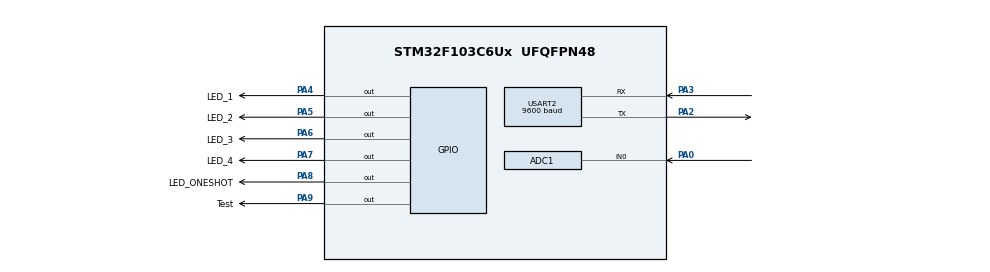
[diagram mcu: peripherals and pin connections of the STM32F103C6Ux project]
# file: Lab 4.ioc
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ADC1.Channel-0\#ChannelRegularConversion=ADC_CHANNEL_0
ADC1.ContinuousConvMode=ENABLE
ADC1.NbrOfConversionFlag=1
ADC1.Rank-0\#ChannelRegularConversion=1
ADC1.SamplingTime-0\#ChannelRegularConversion=ADC_SAMPLETIME_1CYCLE_5
ADC1.master=1
Mcu.Family=STM32F1
Mcu.Name=STM32F103C6Ux
Mcu.Package=UFQFPN48
NVIC.PriorityGroup=NVIC_PRIORITYGROUP_4
NVIC.TIM2_IRQn=true\:0\:0\:false\:false\:true\:true\:true
NVIC.USART2_IRQn=true\:0\:0\:false\:false\:true\:true\:true
PA0-WKUP.Signal=ADCx_IN0
PA2.Mode=Asynchronous
PA2.Signal=USART2_TX
PA3.Mode=Asynchronous
PA3.Signal=USART2_RX
PA4.GPIO_Label=LED_1
PA4.Signal=GPIO_Output
PA5.GPIO_Label=LED_2
PA5.Signal=GPIO_Output
PA6.GPIO_Label=LED_3
PA6.Signal=GPIO_Output
PA7.GPIO_Label=LED_4
PA7.Signal=GPIO_Output
PA8.GPIO_Label=LED_ONESHOT
PA8.Signal=GPIO_Output
PA9.GPIO_Label=Test
PA9.Signal=GPIO_Output
ProjectManager.HeapSize=0x200
ProjectManager.StackSize=0x400
ProjectManager.TargetToolchain=STM32CubeIDE
RCC.APB1Freq_Value=8000000
RCC.APB2Freq_Value=8000000
SH.ADCx_IN0.0=ADC1_IN0,IN0
TIM2.Period=10
TIM2.Prescaler=7999
USART2.BaudRate=9600
USART2.VirtualMode=VM_ASYNC
VP_SYS_VS_ND.Mode=No_Debug
VP_TIM2_VS_ClockSourceINT.Mode=Internal
board=custom

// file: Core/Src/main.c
/* USER CODE BEGIN Header */
/**
  ******************************************************************************
  * @file           : main.c
  * @brief          : Main program body
  ******************************************************************************
  * @attention
  *
  * <h2><center>&copy; Copyright (c) 2022 STMicroelectronics.
  * All rights reserved.</center></h2>
  *
  * This software component is licensed by ST under BSD 3-Clause license,
  * the "License"; You may not use this file except in compliance with the
  * License. You may obtain a copy of the License at:
  *                        opensource.org/licenses/BSD-3-Clause
  *
  ******************************************************************************
  */
/* USER CODE END Header */
#include "main.h"

/* USER CODE BEGIN Includes */
#include "scheduler.h"
/* USER CODE END Includes */

ADC_HandleTypeDef hadc1;

TIM_HandleTypeDef htim2;

UART_HandleTypeDef huart2;

void SystemClock_Config(void);
static void MX_GPIO_Init(void);
static void MX_TIM2_Init(void);
static void MX_USART2_UART_Init(void);
static void MX_ADC1_Init(void);

/* USER CODE BEGIN 0 */
void led_loop(uint32_t led){
	switch(led){
	case 1:
		HAL_GPIO_TogglePin(GPIOA, LED_1_Pin);
		break;
	case 2:
		HAL_GPIO_TogglePin(GPIOA, LED_2_Pin);
		break;
	case 3:
		HAL_GPIO_TogglePin(GPIOA, LED_3_Pin);
		break;
	case 4:
		HAL_GPIO_TogglePin(GPIOA, LED_4_Pin);
		break;
	default:
		break;
	}
}

void led_oneshot(uint32_t led){
	//		HAL_GPIO_TogglePin(GPIOA, LED_ONESHOT_Pin);
	if (HAL_GPIO_ReadPin(GPIOA, LED_ONESHOT_Pin) == GPIO_PIN_RESET){
		HAL_GPIO_WritePin(GPIOA, LED_ONESHOT_Pin, GPIO_PIN_SET);
	}
	else HAL_GPIO_WritePin(GPIOA, LED_ONESHOT_Pin, GPIO_PIN_RESET);
}
/* USER CODE END 0 */

int main(void)
{

  /* MCU Configuration--------------------------------------------------------*/

  /* Reset of all peripherals, Initializes the Flash interface and the Systick. */
  HAL_Init();

  /* Configure the system clock */
  SystemClock_Config();

  /* Initialize all configured peripherals */
  MX_GPIO_Init();
  MX_TIM2_Init();
  MX_USART2_UART_Init();
  MX_ADC1_Init();
  /* USER CODE BEGIN 2 */
  HAL_TIM_Base_Start_IT (& htim2);

  SCH_Init();
  uint32_t id1 = SCH_Add_Task(led_loop, 1, 50, 50);
  uint32_t id2 = SCH_Add_Task(led_loop, 2, 50, 100);
  uint32_t id3 = SCH_Add_Task(led_loop, 3, 50, 150);
  uint32_t id4 = SCH_Add_Task(led_loop, 4, 50, 200);
  uint32_t id5 = SCH_Add_Task(led_oneshot, -1, 250, 0);
  /* USER CODE END 2 */

  /* Infinite loop */
  /* USER CODE BEGIN WHILE */
  while (1)
  {
	  SCH_Dispatch_Tasks();
//	  HAL_UART_Transmit(&huart2, str, sprintf(str, "%s", "Hello\r\n"), 1000);
    /* USER CODE END WHILE */

  }
}

void SystemClock_Config(void)
{
  RCC_OscInitTypeDef RCC_OscInitStruct = {0};
  RCC_ClkInitTypeDef RCC_ClkInitStruct = {0};
  RCC_PeriphCLKInitTypeDef PeriphClkInit = {0};

  /** Initializes the RCC Oscillators according to the specified parameters
  * in the RCC_OscInitTypeDef structure.
  */
  RCC_OscInitStruct.OscillatorType = RCC_OSCILLATORTYPE_HSI;
  RCC_OscInitStruct.HSIState = RCC_HSI_ON;
  RCC_OscInitStruct.HSICalibrationValue = RCC_HSICALIBRATION_DEFAULT;
  RCC_OscInitStruct.PLL.PLLState = RCC_PLL_NONE;
  if (HAL_RCC_OscConfig(&RCC_OscInitStruct) != HAL_OK)
  {
    Error_Handler();
  }
  /** Initializes the CPU, AHB and APB buses clocks
  */
  RCC_ClkInitStruct.ClockType = RCC_CLOCKTYPE_HCLK|RCC_CLOCKTYPE_SYSCLK
                              |RCC_CLOCKTYPE_PCLK1|RCC_CLOCKTYPE_PCLK2;
  RCC_ClkInitStruct.SYSCLKSource = RCC_SYSCLKSOURCE_HSI;
  RCC_ClkInitStruct.AHBCLKDivider = RCC_SYSCLK_DIV1;
  RCC_ClkInitStruct.APB1CLKDivider = RCC_HCLK_DIV1;
  RCC_ClkInitStruct.APB2CLKDivider = RCC_HCLK_DIV1;

  if (HAL_RCC_ClockConfig(&RCC_ClkInitStruct, FLASH_LATENCY_0) != HAL_OK)
  {
    Error_Handler();
  }
  PeriphClkInit.PeriphClockSelection = RCC_PERIPHCLK_ADC;
  PeriphClkInit.AdcClockSelection = RCC_ADCPCLK2_DIV2;
  if (HAL_RCCEx_PeriphCLKConfig(&PeriphClkInit) != HAL_OK)
  {
    Error_Handler();
  }
}

static void MX_ADC1_Init(void)
{

  ADC_ChannelConfTypeDef sConfig = {0};

  /** Common config
  */
  hadc1.Instance = ADC1;
  hadc1.Init.ScanConvMode = ADC_SCAN_DISABLE;
  hadc1.Init.ContinuousConvMode = ENABLE;
  hadc1.Init.DiscontinuousConvMode = DISABLE;
  hadc1.Init.ExternalTrigConv = ADC_SOFTWARE_START;
  hadc1.Init.DataAlign = ADC_DATAALIGN_RIGHT;
  hadc1.Init.NbrOfConversion = 1;
  if (HAL_ADC_Init(&hadc1) != HAL_OK)
  {
    Error_Handler();
  }
  /** Configure Regular Channel
  */
  sConfig.Channel = ADC_CHANNEL_0;
  sConfig.Rank = ADC_REGULAR_RANK_1;
  sConfig.SamplingTime = ADC_SAMPLETIME_1CYCLE_5;
  if (HAL_ADC_ConfigChannel(&hadc1, &sConfig) != HAL_OK)
  {
    Error_Handler();
  }

}

static void MX_TIM2_Init(void)
{

  TIM_ClockConfigTypeDef sClockSourceConfig = {0};
  TIM_MasterConfigTypeDef sMasterConfig = {0};

  htim2.Instance = TIM2;
  htim2.Init.Prescaler = 7999;
  htim2.Init.CounterMode = TIM_COUNTERMODE_UP;
  htim2.Init.Period = 10;
  htim2.Init.ClockDivision = TIM_CLOCKDIVISION_DIV1;
  htim2.Init.AutoReloadPreload = TIM_AUTORELOAD_PRELOAD_DISABLE;
  if (HAL_TIM_Base_Init(&htim2) != HAL_OK)
  {
    Error_Handler();
  }
  sClockSourceConfig.ClockSource = TIM_CLOCKSOURCE_INTERNAL;
  if (HAL_TIM_ConfigClockSource(&htim2, &sClockSourceConfig) != HAL_OK)
  {
    Error_Handler();
  }
  sMasterConfig.MasterOutputTrigger = TIM_TRGO_RESET;
  sMasterConfig.MasterSlaveMode = TIM_MASTERSLAVEMODE_DISABLE;
  if (HAL_TIMEx_MasterConfigSynchronization(&htim2, &sMasterConfig) != HAL_OK)
  {
    Error_Handler();
  }

}

static void MX_USART2_UART_Init(void)
{

  huart2.Instance = USART2;
  huart2.Init.BaudRate = 9600;
  huart2.Init.WordLength = UART_WORDLENGTH_8B;
  huart2.Init.StopBits = UART_STOPBITS_1;
  huart2.Init.Parity = UART_PARITY_NONE;
  huart2.Init.Mode = UART_MODE_TX_RX;
  huart2.Init.HwFlowCtl = UART_HWCONTROL_NONE;
  huart2.Init.OverSampling = UART_OVERSAMPLING_16;
  if (HAL_UART_Init(&huart2) != HAL_OK)
  {
    Error_Handler();
  }

}

static void MX_GPIO_Init(void)
{
  GPIO_InitTypeDef GPIO_InitStruct = {0};

  /* GPIO Ports Clock Enable */
  __HAL_RCC_GPIOA_CLK_ENABLE();

  /*Configure GPIO pin Output Level */
  HAL_GPIO_WritePin(GPIOA, LED_1_Pin|LED_2_Pin|LED_3_Pin|LED_4_Pin
                          |LED_ONESHOT_Pin|Test_Pin, GPIO_PIN_RESET);

  /*Configure GPIO pins : LED_1_Pin LED_2_Pin LED_3_Pin LED_4_Pin
                           LED_ONESHOT_Pin Test_Pin */
  GPIO_InitStruct.Pin = LED_1_Pin|LED_2_Pin|LED_3_Pin|LED_4_Pin
                          |LED_ONESHOT_Pin|Test_Pin;
  GPIO_InitStruct.Mode = GPIO_MODE_OUTPUT_PP;
  GPIO_InitStruct.Pull = GPIO_NOPULL;
  GPIO_InitStruct.Speed = GPIO_SPEED_FREQ_LOW;
  HAL_GPIO_Init(GPIOA, &GPIO_InitStruct);

}

/* USER CODE BEGIN 4 */
int test = 100;
char str[50];
uint32_t tick = 0;
void HAL_TIM_PeriodElapsedCallback(TIM_HandleTypeDef* htim){
	SCH_Update();
	tick++;
	if (test > 0){
		test--;
		if (test == 0){
			HAL_GPIO_TogglePin(GPIOA, Test_Pin);
			test = 100;
		}
	}
}
/* USER CODE END 4 */

void Error_Handler(void)
{
  __disable_irq();
  while (1)
  {
  }
}

/************************ (C) COPYRIGHT STMicroelectronics *****END OF FILE****/
